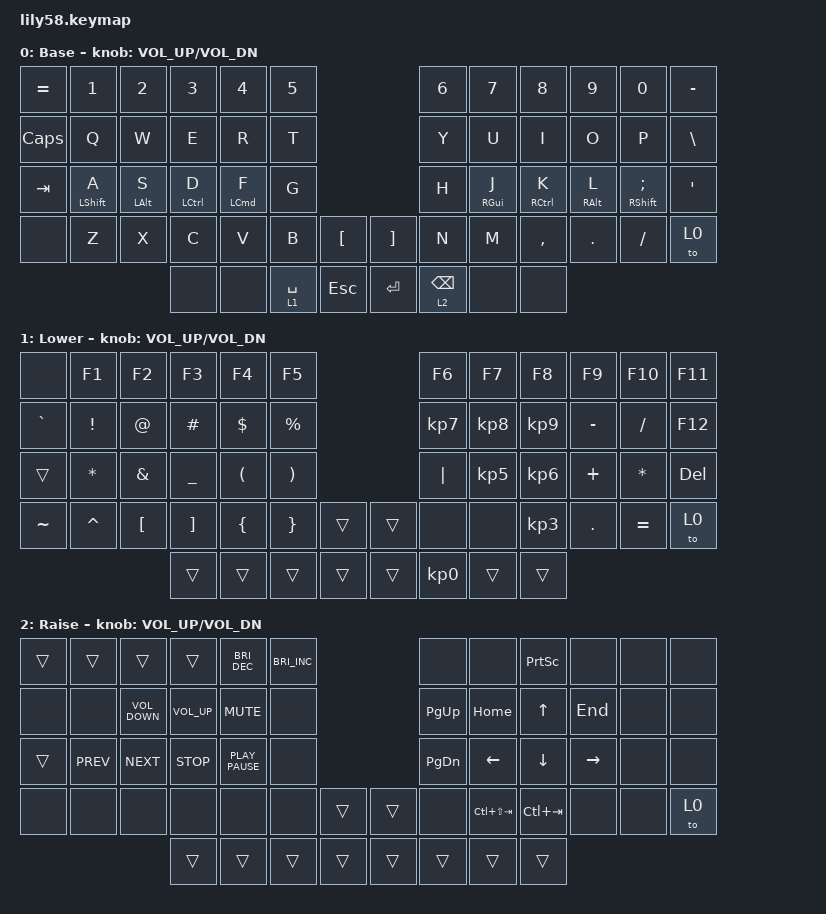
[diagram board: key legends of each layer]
/*
 * Copyright (c) 2020 The ZMK Contributors
 *
 * SPDX-License-Identifier: MIT
 */

#include <behaviors.dtsi>
#include <dt-bindings/zmk/keys.h>
#include "zmk-helpers/key-labels/58.h"

/ {
    behaviors {
        hrml: home_row_mod_left {
            compatible = "zmk,behavior-hold-tap";
            #binding-cells = <2>;
            flavor = "tap-preferred";
            require-prior-idle-ms = <200>;
            tapping-term-ms = <200>;
            quick-tap-ms = <175>;
            bindings = <&kp>, <&kp>;
            hold-trigger-key-positions = < KEYS_R KEYS_THUMB >;
            hold-trigger-on-release;
        };
        hrmr: home_row_mod_right {
            compatible = "zmk,behavior-hold-tap";
            #binding-cells = <2>;
            flavor = "tap-preferred";
            require-prior-idle-ms = <200>;
            tapping-term-ms = <200>;
            quick-tap-ms = <175>;
            bindings = <&kp>, <&kp>;
            hold-trigger-key-positions = < KEYS_L KEYS_THUMB >;
            hold-trigger-on-release;
        };
    };

    keymap {
        compatible = "zmk,keymap";

        default_layer {
            // ------------------------------------------------------------------------------------------------------------
            // |  ESC  |  1  |  2  |  3   |  4   |  5   |                   |  6   |  7    |  8    |  9   |   0   |   `   |
            // |  TAB  |  Q  |  W  |  E   |  R   |  T   |                   |  Y   |  U    |  I    |  O   |   P   |   -   |
            // |  CTRL |  A  |  S  |  D   |  F   |  G   |                   |  H   |  J    |  K    |  L   |   ;   |   '   |
            // | SHIFT |  Z  |  X  |  C   |  V   |  B   |   "["  |  |  "]"  |  N   |  M    |  ,    |  .   |   /   | SHIFT |
            //                     | ALT  | GUI  | LOWER|  SPACE |  | ENTER | RAISE| BSPC  | GUI   |

            display-name = "Base";
            bindings = <
&kp EQUAL     &kp N1            &kp N2          &kp N3       &kp N4      &kp N5                               &kp N6           &kp N7           &kp N8       &kp N9           &kp N0                &kp MINUS
&kp CAPSLOCK  &kp Q             &kp W           &kp E        &kp R       &kp T                                &kp Y            &kp U            &kp I        &kp O            &kp P                 &kp BACKSLASH
&kp TAB       &hrml LEFT_SHIFT A  &hrml LEFT_ALT S  &hrml LCTRL D  &hrml LCMD F  &kp G                        &kp H            &hrmr RIGHT_GUI J  &hrmr RCTRL K  &hrmr RIGHT_ALT L  &hrmr RIGHT_SHIFT SEMI  &kp SINGLE_QUOTE
&none         &kp Z             &kp X           &kp C        &kp V       &kp B        &kp LBKT      &kp RBKT  &kp N            &kp M            &kp COMMA    &kp DOT          &kp FSLH              &to 0
                                                &none        &none       &lt 1 SPACE  &kp ESCAPE    &kp RET   &lt 2 BACKSPACE  &none            &none
            >;

            sensor-bindings = <&inc_dec_kp C_VOL_UP C_VOL_DN>;
        };

        lower_layer {
            // ------------------------------------------------------------------------------------------------------------
            // | BTCLR | BT1 | BT2 |  BT3 |  BT4 |  BT5 |                   |      |       |       |      |       |       |
            // |  F1   |  F2 |  F3 |  F4  |  F5  |  F6  |                   |  F7  |  F8   |  F9   |  F10 |  F11  |  F12  |
            // |   `   |  !  |  @  |  #   |  $   |  %   |                   |  ^   |  &    |  *    |  (   |   )   |   ~   |
            // |       |     |     |      |      |      |        |  |       |      |  _    |  +    |  {   |   }   |  "|"  |
            //                     |      |      |      |        |  |       |      |       |       |

            display-name = "Lower";
            bindings = <
&none      &kp F1           &kp F2            &kp F3             &kp F4                &kp F5                                   &kp F6           &kp F7           &kp F8           &kp F9      &kp F10       &kp F11
&kp GRAVE  &kp EXCLAMATION  &kp AT_SIGN       &kp POUND          &kp DOLLAR            &kp PERCENT                              &kp KP_NUMBER_7  &kp KP_NUMBER_8  &kp KP_NUMBER_9  &kp MINUS   &kp SLASH     &kp F12
&trans     &kp ASTERISK     &kp AMPERSAND     &kp UNDERSCORE     &kp LEFT_PARENTHESIS  &kp RIGHT_PARENTHESIS                    &kp PIPE         &kp KP_NUMBER_5  &kp KP_NUMBER_6  &kp PLUS    &kp ASTERISK  &kp DELETE
&kp TILDE  &kp CARET        &kp LEFT_BRACKET  &kp RIGHT_BRACKET  &kp LEFT_BRACE        &kp RIGHT_BRACE        &trans    &trans  &none            &none            &kp KP_NUMBER_3  &kp PERIOD  &kp EQUAL     &to 0
                                              &trans             &trans                &trans                 &trans    &trans  &kp KP_NUMBER_0  &trans           &trans
            >;

            sensor-bindings = <&inc_dec_kp C_VOL_UP C_VOL_DN>;
        };

        raise_layer {
            // ------------------------------------------------------------------------------------------------------------
            // |       |     |     |      |      |      |                   |      |       |       |      |       |       |
            // |   `   |  1  |  2  |  3   |  4   |  5   |                   |  6   |   7   |   8   |  9   |   0   |       |
            // |   F1  |  F2 |  F3 |  F4  |  F5  |  F6  |                   |      |   <-  |   v   |  ^   |  ->   |       |
            // |   F7  |  F8 |  F9 |  F10 |  F11 |  F12 |        |  |       |  +   |   -   |   =   |  [   |   ]   |   \   |
            //                     |      |      |      |        |  |       |      |       |       |

            display-name = "Raise";
            bindings = <
&trans  &trans      &trans             &trans           &kp C_BRIGHTNESS_DEC  &kp C_BRIGHTNESS_INC                    &none      &none            &kp PRINTSCREEN    &none      &none  &none
&none   &none       &kp K_VOLUME_DOWN  &kp K_VOLUME_UP  &kp K_MUTE            &none                                   &kp PG_UP  &kp HOME         &kp UP_ARROW  &kp END    &none  &none
&trans  &kp K_PREV  &kp K_NEXT         &kp K_STOP       &kp K_PLAY_PAUSE      &none                                   &kp PG_DN  &kp LEFT         &kp DOWN      &kp RIGHT  &none  &none
&none   &none       &none              &none            &none                 &none                 &trans    &trans  &none      &kp LC(LS(TAB))  &kp LC(TAB)   &none      &none  &to 0
                                       &trans           &trans                &trans                &trans    &trans  &trans     &trans           &trans
            >;

            sensor-bindings = <&inc_dec_kp C_VOL_UP C_VOL_DN>;
        };

        extra_1 { status = "reserved"; };

        extra_2 { status = "reserved"; };

        extra_3 { status = "reserved"; };
    };
};
